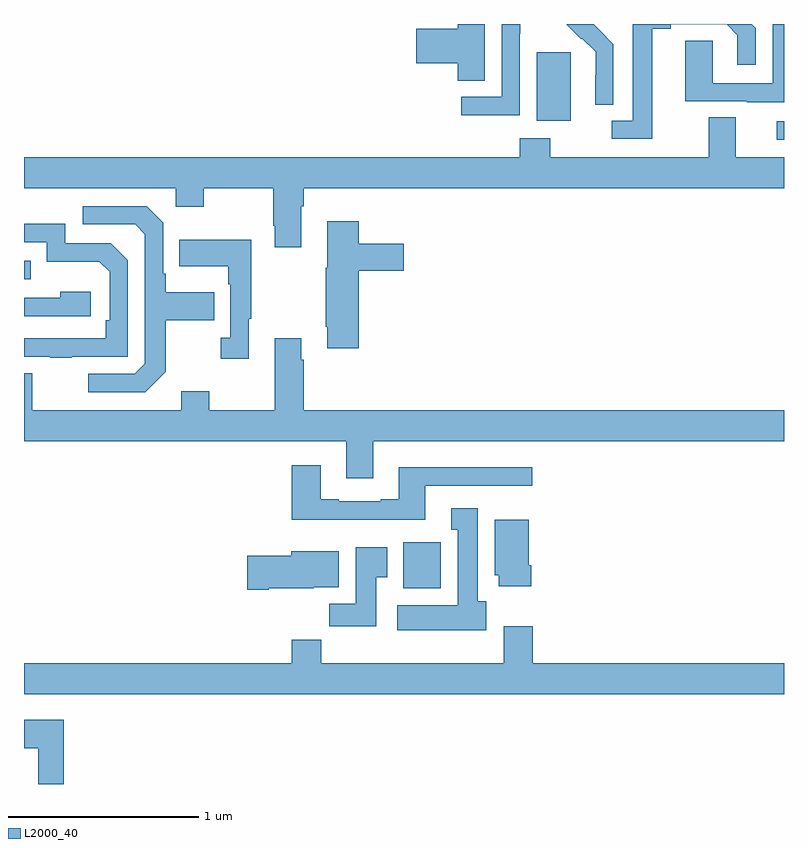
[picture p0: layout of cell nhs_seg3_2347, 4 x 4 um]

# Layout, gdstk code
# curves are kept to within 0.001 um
import gdstk
lib = gdstk.Library(unit=1e-6, precision=1e-09)
def R(c, l, rs):  # rectangles x0, y0, x1, y1
    for r in rs: c.add(gdstk.rectangle(r[:2], r[2:], *l))
def P(c, l, *ps):  # polygons
    for p in ps: c.add(gdstk.Polygon(p, *l))
L2000_40 = (2000, 40)

nhs_seg3_2347 = lib.new_cell('nhs_seg3_2347')
R(nhs_seg3_2347, L2000_40, [(232.997,745.43,233.194,745.672), (231,747.057,231.035,747.153), (234.963,747.792,235,747.888), (233.699,747.89,233.878,748.251)])
P(nhs_seg3_2347, L2000_40, [(235,748.4),(234.942,748.4),(234.942,748.089),(234.624,748.089),(234.624,748.313),(234.479,748.313),(234.479,747.993),(234.803,747.993),(234.803,747.989),(235,747.989)],
  [(234.102,748.294),(233.998,748.4),(233.857,748.4),(233.857,748.397),(233.934,748.32),(233.937,748.323),(234.008,748.253),(234.008,748.13),(234.006,748.13),(234.006,747.976),(234.102,747.976)],
  [(233.61,748.348),(233.613,748.348),(233.613,748.4),(233.514,748.4),(233.514,748.017),(233.301,748.017),(233.301,747.919),(233.61,747.919)],
  [(234.307,748.376),(234.403,748.376),(234.403,748.398),(234.698,748.398),(234.755,748.341),(234.755,748.185),(234.852,748.185),(234.852,748.378),(234.83,748.4),(234.202,748.4),(234.203,747.891),(234.093,747.891),(234.093,747.795),(234.307,747.795)],
  [(233.425,748.4),(233.282,748.4),(233.282,748.376),(233.064,748.376),(233.064,748.193),(233.282,748.193),(233.282,748.102),(233.425,748.102)],
  [(232.459,747.44),(232.472,747.44),(232.472,747.536),(235,747.536),(235,747.7),(234.745,747.7),(234.745,747.908),(234.605,747.908),(234.605,747.7),(233.769,747.7),(233.769,747.799),(233.609,747.799),(233.609,747.7),(231,747.7),(231,747.536),(231.798,747.536),(231.798,747.437),(231.945,747.437),(231.945,747.536),(232.312,747.536),(232.312,747.337),(232.319,747.337),(232.319,747.225),(232.459,747.225)],
  [(231.745,746.569),(231.745,746.842),(232.001,746.842),(232.001,746.989),(231.745,746.989),(231.745,747.085),(231.732,747.085),(231.732,747.354),(231.645,747.441),(231.309,747.441),(231.309,747.345),(231.585,747.345),(231.636,747.294),(231.636,746.613),(231.582,746.559),(231.339,746.559),(231.339,746.463),(231.639,746.463)],
  [(232.763,747.101),(232.999,747.101),(232.999,747.243),(232.763,747.243),(232.763,747.361),(232.595,747.361),(232.595,747.117),(232.588,747.117),(232.588,746.806),(232.595,746.806),(232.595,746.694),(232.763,746.694)],
  [(231.251,746.649),(231.546,746.649),(231.546,747.156),(231.456,747.246),(231.216,747.246),(231.216,747.348),(231,747.348),(231,747.252),(231.12,747.252),(231.12,747.149),(231.397,747.149),(231.45,747.096),(231.45,746.842),(231.43,746.842),(231.43,746.745),(231,746.745),(231,746.649),(231.139,746.649),(231.139,746.644),(231.251,746.644)],
  [(232.183,746.849),(232.195,746.849),(232.195,747.265),(231.817,747.265),(231.817,747.125),(232.074,747.125),(232.074,747.029),(232.086,747.029),(232.086,746.75),(232.035,746.75),(232.035,746.637),(232.183,746.637)],
  [(231.352,746.992),(231.191,746.992),(231.191,746.958),(231,746.958),(231,746.862),(231.352,746.862)],
  [(232.837,746.204),(235,746.204),(235,746.368),(232.472,746.368),(232.472,746.633),(232.459,746.633),(232.459,746.746),(232.319,746.746),(232.319,746.368),(231.975,746.368),(231.975,746.467),(231.827,746.467),(231.827,746.368),(231.043,746.368),(231.043,746.563),(231,746.563),(231,746.204),(232.697,746.204),(232.697,746.01),(232.837,746.01)],
  [(233.113,745.971),(233.674,745.971),(233.674,746.068),(232.973,746.068),(232.973,745.9),(232.877,745.9),(232.877,745.887),(232.657,745.887),(232.657,745.9),(232.561,745.9),(232.561,746.077),(232.409,746.077),(232.409,745.79),(233.113,745.79)],
  [(233.434,745.362),(233.389,745.362),(233.389,745.852),(233.249,745.852),(233.249,745.739),(233.282,745.739),(233.282,745.342),(232.965,745.342),(232.965,745.208),(233.434,745.208)],
  [(233.669,745.552),(233.656,745.552),(233.656,745.792),(233.477,745.792),(233.477,745.5),(233.498,745.5),(233.498,745.44),(233.669,745.44)],
  [(232.855,745.489),(232.912,745.489),(232.912,745.645),(232.745,745.645),(232.745,745.348),(232.606,745.348),(232.606,745.23),(232.855,745.23)],
  [(232.288,745.43),(232.524,745.43),(232.524,745.436),(232.657,745.436),(232.657,745.624),(232.406,745.624),(232.406,745.601),(232.176,745.601),(232.176,745.423),(232.288,745.423)],
  [(235,745.036),(233.678,745.036),(233.678,745.231),(233.525,745.231),(233.525,745.036),(232.565,745.036),(232.565,745.16),(232.409,745.16),(232.409,745.036),(231,745.036),(231,744.872),(235,744.872)],
  [(231.209,744.739),(231,744.739),(231,744.587),(231.074,744.587),(231.074,744.4),(231.209,744.4)])

lib.write_gds('nhs_seg3_2347.gds')
